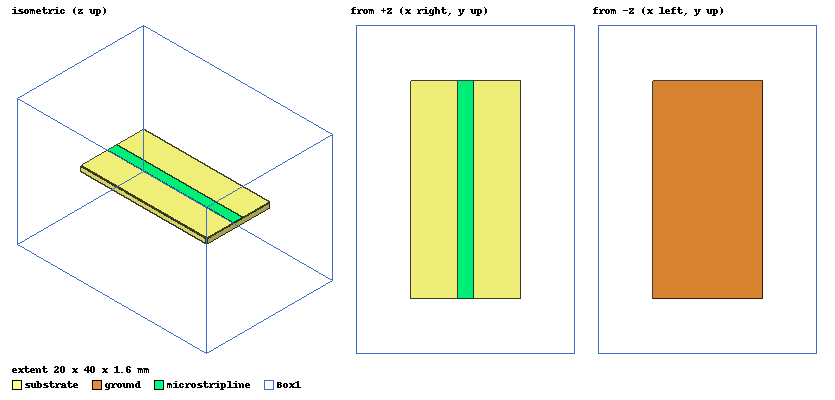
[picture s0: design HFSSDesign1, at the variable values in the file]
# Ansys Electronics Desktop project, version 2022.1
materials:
  vacuum: permittivity=1
  FR4_epoxy: permittivity=4.4 dielectric_loss_tangent=0.02

design HFSSDesign1 (HFSS, DrivenTerminal, model units mm)
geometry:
  ground = rectangle(corner=(0mm, 0mm, 0mm), x_size=20mm, y_size=40mm)
  substrate [FR4_epoxy] = box(corner=(0mm, 0mm, 0mm), size=(20mm, 40mm, 1.6mm))
  microstripline = rectangle(corner=(8.5mm, 0mm, 1.6mm), x_size=3mm, y_size=40mm)
  Box1 [vacuum] = box(corner=(-10mm, -10mm, -20mm), size=(40mm, 60mm, 40mm))
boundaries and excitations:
  PerfE1: Perfect E Objects=[ground, microstripline]
  1_T1: Terminal port=1 Edges=microstripline.edge(y opposite corner) TerminalResistance=50ohm
  2_T1: Terminal port=2 Edges=microstripline.edge(y at corner) TerminalResistance=50ohm
  1: Lumped Port Faces=substrate.face(+y) Impedance=50ohm
  2: Lumped Port Faces=substrate.face(-y) Impedance=50ohm
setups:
  Setup1: HfssDriven Frequency=5GHz MaxDeltaS=0.02 MaximumPasses=6 MinimumPasses=1 MinimumConvergedPasses=1 PercentRefinement=30 BasisOrder=1 PortAccuracy=2 DrivenSolverType="Direct Solver"
    sweep Sweep: 1GHz to 7GHz step 0.1GHz; Type=Interpolating InterpTolerance=0.5 InterpMaxSolns=250 PassivityErrorTolerance=0.0001
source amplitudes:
  1:1: 1V 0deg
  2:1: 0V 0deg
